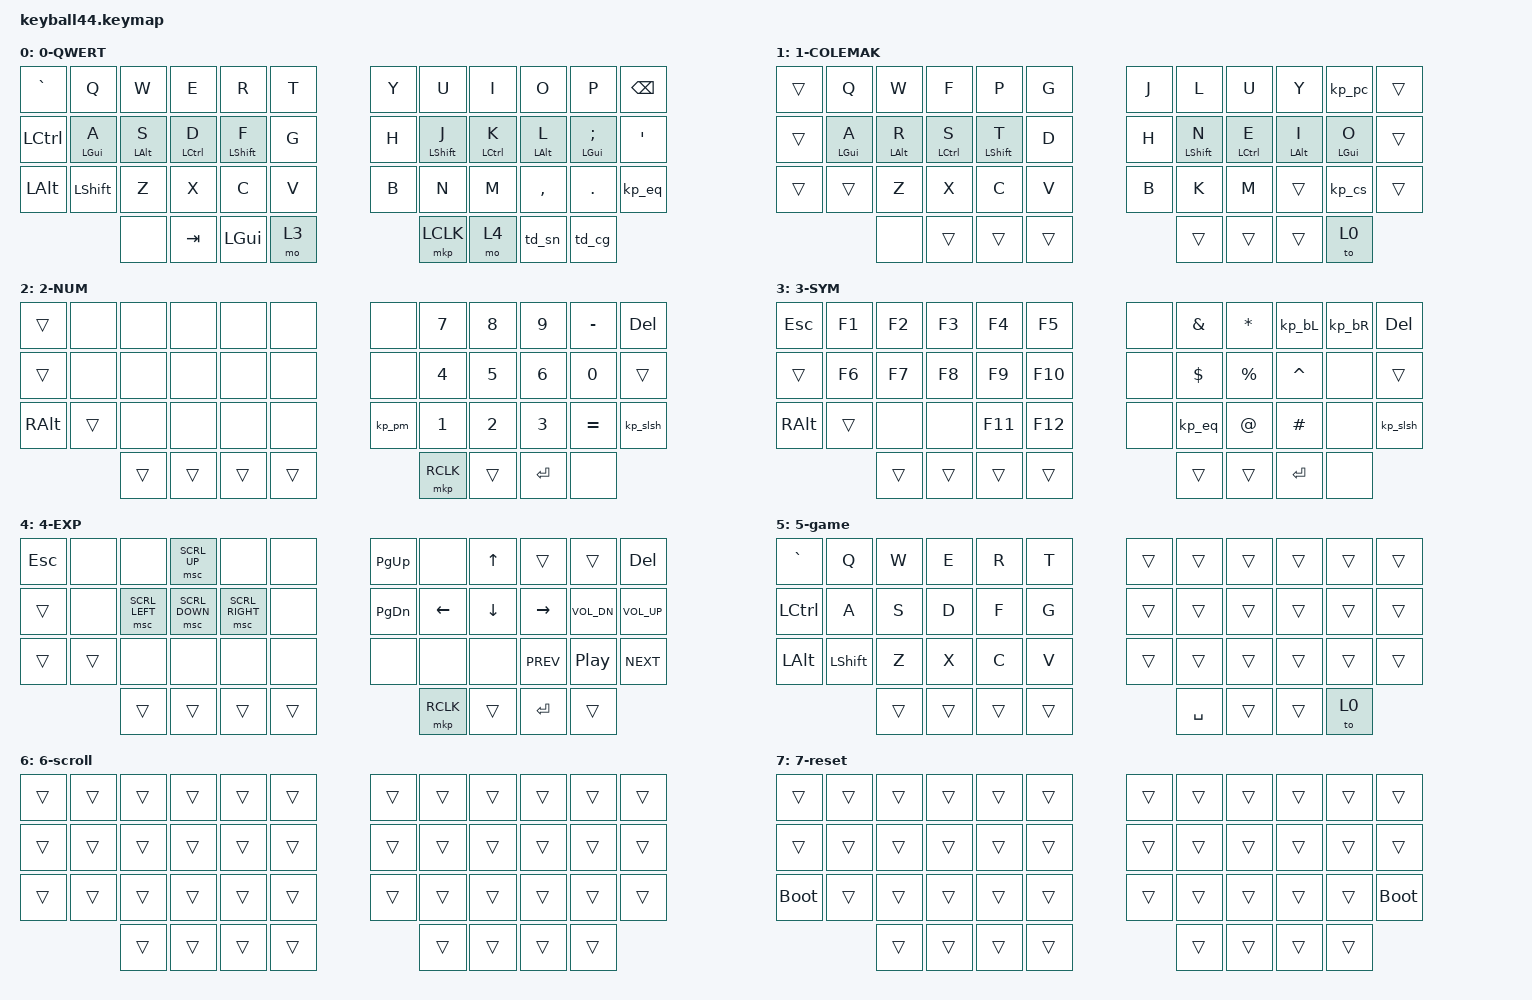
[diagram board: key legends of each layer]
#define QWERT   0
#define COLEMAK 1
#define NUM     2
#define SYM     3
#define EXP     4
#define GAME    5
#define SCROLL  6
#define RESET   7

#include <behaviors/mouse_keys.dtsi>
#include <input/processors.dtsi>
#include <dt-bindings/zmk/mouse.h>
#include <dt-bindings/zmk/input_transform.h>
#include <behaviors.dtsi>
#include <dt-bindings/zmk/keys.h>
#include <dt-bindings/zmk/pointing.h>


&lt {
    tapping-term-ms = <240>;
    flavor = "balanced";
    quick-tap-ms = <150>;
};

&mt {
    tapping-term-ms = <200>;
    flavor = "tap-preferred";
    quick-tap-ms = <150>;
};

/ {
    conditional_layers {
        compatible = "zmk,conditional-layers";

        reset_layer {
            if-layers = <2 4>;
            then-layer = <7>;
        };
    };

    behaviors {
        td_sn: TD_space_num {
            compatible = "zmk,behavior-tap-dance";
            label = "num_space";
            #binding-cells = <0>;
            tapping-term-ms = <100>;
            bindings = <&lt 2 SPACE>;
        };

        td_cg: TD_colemak_gaming {
            compatible = "zmk,behavior-tap-dance";
            label = "colemak_gaming";
            #binding-cells = <0>;
            tapping-term-ms = <100>;
            bindings = <&to 1>, <&to 5>;
        };

        kp_cs: SYM_comma_semi {
            compatible = "zmk,behavior-mod-morph";
            label = "COMMA_SEMI";
            #binding-cells = <0>;
            bindings = <&kp COMMA>, <&kp SEMI>;

            mods = <(MOD_LSFT|MOD_RSFT)>;
        };

        kp_pc: SYM_period_colon {
            compatible = "zmk,behavior-mod-morph";
            label = "DOT_COL";
            #binding-cells = <0>;
            bindings = <&kp DOT>, <&kp COLON>;

            mods = <(MOD_LSFT|MOD_RSFT)>;
        };

        kp_eq: SYM_excl_ques {
            compatible = "zmk,behavior-mod-morph";
            label = "SYM_EQ";
            #binding-cells = <0>;
            bindings = <&kp EXCL>, <&kp QUESTION>;

            mods = <(MOD_LSFT|MOD_RSFT)>;
        };

        kp_slsh: SYM_fslsh_bslsh {
            compatible = "zmk,behavior-mod-morph";
            label = "SYM_SLSH";
            #binding-cells = <0>;
            bindings = <&kp FSLH>, <&kp BSLH>;

            mods = <(MOD_LSFT|MOD_RSFT)>;
        };

        kp_bL: SYM_bracket_squareB_L {
            compatible = "zmk,behavior-mod-morph";
            label = "SYM_BSBL";
            #binding-cells = <0>;
            bindings = <&kp LPAR>, <&kp LBKT>;

            mods = <(MOD_LSFT|MOD_RSFT)>;
        };

        kp_bR: SYM_bracket_squareB_R {
            compatible = "zmk,behavior-mod-morph";
            label = "SYM_BSBR";
            #binding-cells = <0>;
            bindings = <&kp RPAR>, <&kp RBKT>;

            mods = <(MOD_LSFT|MOD_RSFT)>;
        };

        kp_pm: SYM_plus_mult {
            compatible = "zmk,behavior-mod-morph";
            label = "S_PM";
            #binding-cells = <0>;
            bindings = <&kp PLUS>, <&kp STAR>;

            mods = <(MOD_LSFT|MOD_RSFT)>;
        };
    };

    combos {
        compatible = "zmk,combos";

        S_abL {
            bindings = <&kp LEFT_BRACE>;
            key-positions = <9 24>;
            layers = <3>;
        };

        S_abR {
            bindings = <&kp RIGHT_BRACE>;
            key-positions = <24 10>;
            layers = <3>;
        };

        S_brL {
            bindings = <&kp LT>;
            key-positions = <25 24 9>;
            layers = <3>;
        };

        S_brR {
            bindings = <&kp GT>;
            key-positions = <25 24 10>;
            layers = <3>;
        };

        lclk {
            bindings = <&mkp LCLK>;
            key-positions = <19 20>;
            layers = <1 2>;
        };

        rclk {
            bindings = <&mkp RCLK>;
            key-positions = <20 21>;
            layers = <1 2>;
        };

        mclk {
            bindings = <&mkp MCLK>;
            key-positions = <21 22>;
            layers = <1 2>;
        };
    };

    keymap {
        compatible = "zmk,keymap";

        default_layer {
            label = "0-QWERT";
            bindings = <
&kp GRAVE  &kp Q       &kp W       &kp E        &kp R         &kp T                      &kp Y   &kp U         &kp I        &kp O       &kp P          &kp BACKSPACE
&kp LCTRL  &mt LGUI A  &mt LALT S  &mt LCTRL D  &mt LSHIFT F  &kp G                      &kp H   &mt LSHIFT J  &mt LCTRL K  &mt LALT L  &mt LGUI SEMI  &kp APOS
&kp LALT   &kp LSHIFT  &kp Z       &kp X        &kp C         &kp V                      &kp B   &kp N         &kp M        &kp COMMA   &kp PERIOD     &kp_eq
                       &none       &kp TAB      &kp LEFT_GUI  &mo 3  &mkp LCLK    &mo 4  &td_sn                                         &td_cg
            >;
        };

        colemak_layer {
            label = "1-COLEMAK";
            bindings = <
&trans  &kp Q       &kp W       &kp F        &kp P         &kp G                     &kp J   &kp L         &kp U        &kp Y       &kp_pc      &trans
&trans  &mt LGUI A  &mt LALT R  &mt LCTRL S  &mt LSHIFT T  &kp D                     &kp H   &mt LSHIFT N  &mt LCTRL E  &mt LALT I  &mt LGUI O  &trans
&trans  &trans      &kp Z       &kp X        &kp C         &kp V                     &kp B   &kp K         &kp M        &trans      &kp_cs      &trans
                    &none       &trans       &trans        &trans  &trans    &trans  &trans                                         &to 0
            >;
        };

        number_layer {
            label = "2-NUM";
            bindings = <
&trans    &none   &none   &none   &none   &none                        &none    &kp N7  &kp N8  &kp N9  &kp MINUS  &kp DEL
&trans    &none   &none   &none   &none   &none                        &none    &kp N4  &kp N5  &kp N6  &kp N0     &trans
&kp RALT  &trans  &none   &none   &none   &none                        &kp_pm   &kp N1  &kp N2  &kp N3  &kp EQUAL  &kp_slsh
                  &trans  &trans  &trans  &trans  &mkp RCLK    &trans  &kp RET                          &none
            >;
        };

        symbol_layer {
            label = "3-SYM";
            bindings = <
&kp ESC        &kp F1  &kp F2  &kp F3  &kp F4   &kp F5                     &none    &kp AMPS  &kp STAR   &kp_bL     &kp_bR  &kp DEL
&trans         &kp F6  &kp F7  &kp F8  &kp F9   &kp F10                    &none    &kp DLLR  &kp PRCNT  &kp CARET  &none   &trans
&kp RIGHT_ALT  &trans  &none   &none   &kp F11  &kp F12                    &none    &kp_eq    &kp AT     &kp POUND  &none   &kp_slsh
                       &trans  &trans  &trans   &trans   &trans    &trans  &kp RET                                  &none
            >;
        };

        explore_layer {
            label = "4-EXP";
            bindings = <
&kp ESCAPE  &none   &none           &msc SCRL_UP    &none            &none                        &kp PG_UP  &none     &kp UP    &trans      &trans            &kp DEL
&trans      &none   &msc SCRL_LEFT  &msc SCRL_DOWN  &msc SCRL_RIGHT  &none                        &kp PG_DN  &kp LEFT  &kp DOWN  &kp RIGHT   &kp C_VOL_DN      &kp C_VOL_UP
&trans      &trans  &none           &none           &none            &none                        &none      &none     &none     &kp C_PREV  &kp C_PLAY_PAUSE  &kp C_NEXT
                    &trans          &trans          &trans           &trans  &mkp RCLK    &trans  &kp RET                                    &trans
            >;
        };

        gaming_layer {
            label = "5-game";
            bindings = <
&kp GRAVE     &kp Q           &kp W   &kp E   &kp R   &kp T                        &trans  &trans  &trans  &trans  &trans  &trans
&kp LCTRL     &kp A           &kp S   &kp D   &kp F   &kp G                        &trans  &trans  &trans  &trans  &trans  &trans
&kp LEFT_ALT  &kp LEFT_SHIFT  &kp Z   &kp X   &kp C   &kp V                        &trans  &trans  &trans  &trans  &trans  &trans
                              &trans  &trans  &trans  &trans  &kp SPACE    &trans  &trans                          &to 0
            >;
        };

        scroll_layer {
            label = "6-scroll";
            bindings = <
&trans  &trans  &trans  &trans  &trans  &trans                    &trans  &trans  &trans  &trans  &trans  &trans
&trans  &trans  &trans  &trans  &trans  &trans                    &trans  &trans  &trans  &trans  &trans  &trans
&trans  &trans  &trans  &trans  &trans  &trans                    &trans  &trans  &trans  &trans  &trans  &trans
                &trans  &trans  &trans  &trans  &trans    &trans  &trans                          &trans
            >;
        };

        reset_layer {
            label = "7-reset";
            bindings = <
&trans       &trans  &trans  &trans  &trans  &trans                    &trans  &trans  &trans  &trans  &trans  &trans
&trans       &trans  &trans  &trans  &trans  &trans                    &trans  &trans  &trans  &trans  &trans  &trans
&bootloader  &trans  &trans  &trans  &trans  &trans                    &trans  &trans  &trans  &trans  &trans  &bootloader
                     &trans  &trans  &trans  &trans  &trans    &trans  &trans                          &trans
            >;
        };
    };
};
